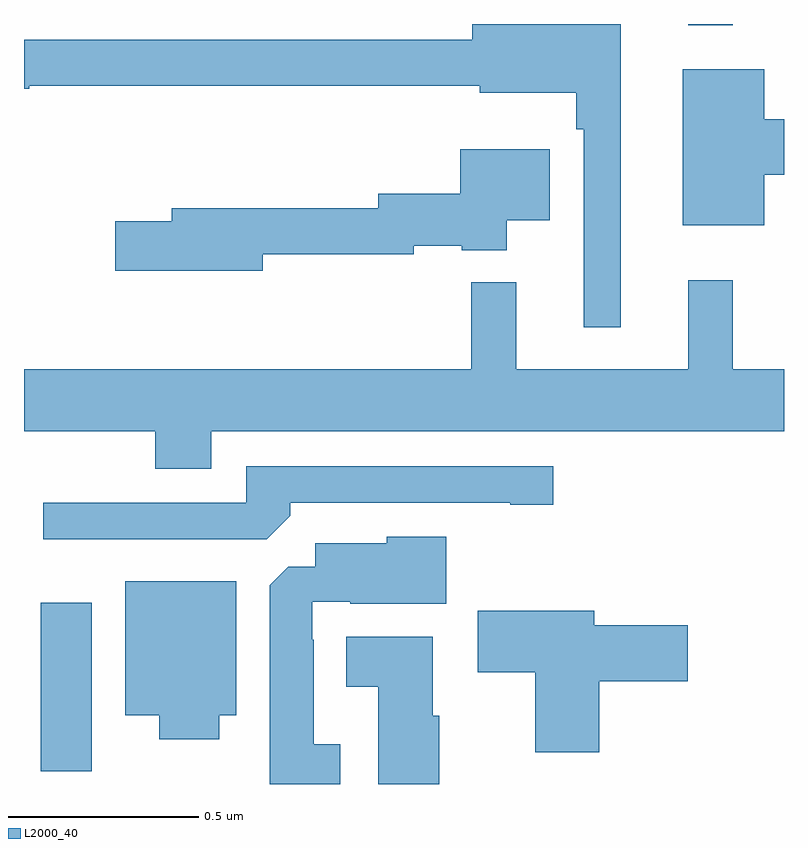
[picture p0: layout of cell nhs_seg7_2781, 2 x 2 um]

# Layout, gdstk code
import gdstk
lib = gdstk.Library(unit=1e-6, precision=1e-09)
def R(c, l, rs):  # rectangles x0, y0, x1, y1
    for r in rs: c.add(gdstk.rectangle(r[:2], r[2:], *l))
def P(c, l, *ps):  # polygons
    for p in ps: c.add(gdstk.Polygon(p, *l))
L2000_40 = (2000, 40)

nhs_seg7_2781 = lib.new_cell('nhs_seg7_2781')
R(nhs_seg7_2781, L2000_40, [(150.044,1021.033,150.178,1021.477), (151.748,1022.997,151.865,1023)])
P(nhs_seg7_2781, L2000_40, [(151.57,1023),(151.18,1023),(151.18,1022.959),(150,1022.959),(150,1022.83),(150.014,1022.83),(150.014,1022.838),(151.199,1022.838),(151.199,1022.819),(151.453,1022.819),(151.453,1022.723),(151.473,1022.723),(151.473,1022.202),(151.57,1022.202)],
  [(151.948,1022.603),(152,1022.603),(152,1022.75),(151.948,1022.75),(151.948,1022.881),(151.733,1022.881),(151.733,1022.471),(151.948,1022.471)],
  [(150.628,1022.394),(151.026,1022.394),(151.026,1022.416),(151.152,1022.416),(151.152,1022.405),(151.27,1022.405),(151.27,1022.483),(151.384,1022.483),(151.384,1022.671),(151.148,1022.671),(151.148,1022.553),(150.932,1022.553),(150.932,1022.515),(150.389,1022.515),(150.389,1022.481),(150.24,1022.481),(150.24,1022.351),(150.628,1022.351)],
  [(150.493,1021.928),(152,1021.928),(152,1022.092),(151.865,1022.092),(151.865,1022.326),(151.748,1022.326),(151.748,1022.092),(151.295,1022.092),(151.295,1022.32),(151.177,1022.32),(151.177,1022.092),(150,1022.092),(150,1021.928),(150.346,1021.928),(150.346,1021.829),(150.493,1021.829)],
  [(150.701,1021.706),(150.701,1021.74),(151.28,1021.74),(151.28,1021.735),(151.393,1021.735),(151.393,1021.836),(150.585,1021.836),(150.585,1021.74),(150.051,1021.74),(150.051,1021.644),(150.639,1021.644)],
  [(150.832,1021.105),(150.763,1021.105),(150.763,1021.379),(150.759,1021.379),(150.759,1021.479),(150.859,1021.479),(150.859,1021.475),(151.111,1021.475),(151.111,1021.651),(150.954,1021.651),(150.954,1021.633),(150.767,1021.633),(150.767,1021.572),(150.696,1021.572),(150.647,1021.523),(150.647,1021),(150.832,1021)],
  [(150.514,1021.181),(150.559,1021.181),(150.559,1021.534),(150.266,1021.534),(150.266,1021.181),(150.356,1021.181),(150.356,1021.118),(150.514,1021.118)],
  [(151.514,1021.271),(151.747,1021.271),(151.747,1021.418),(151.501,1021.418),(151.501,1021.456),(151.194,1021.456),(151.194,1021.294),(151.346,1021.294),(151.346,1021.083),(151.514,1021.083)],
  [(151.093,1021.179),(151.075,1021.179),(151.075,1021.387),(150.848,1021.387),(150.848,1021.256),(150.932,1021.256),(150.932,1021),(151.093,1021)])

lib.write_gds('nhs_seg7_2781.gds')
